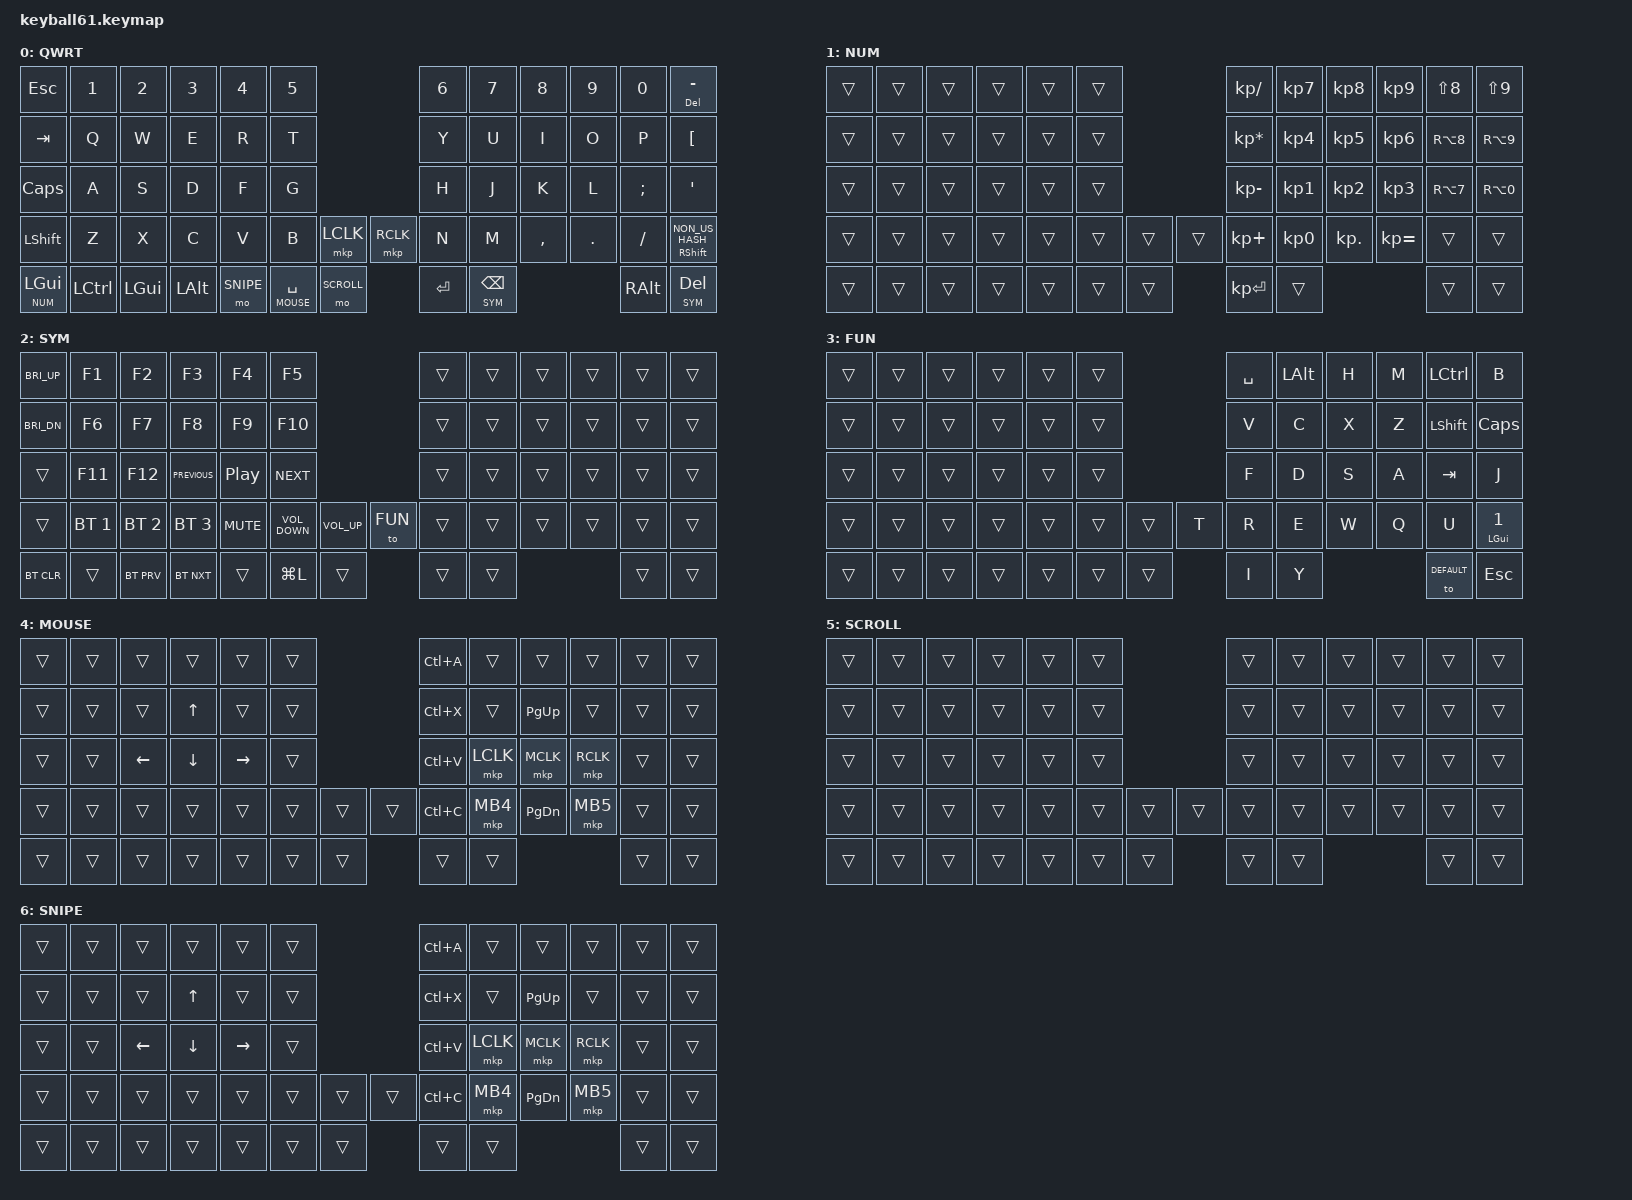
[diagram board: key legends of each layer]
#define DEFAULT 0
#define NUM     1
#define SYM     2
#define FUN     3
#define MOUSE   4
#define SCROLL  5
#define SNIPE   6

#include <behaviors/mouse_keys.dtsi>
#include <behaviors.dtsi>
#include <dt-bindings/zmk/bt.h>
#include <dt-bindings/zmk/keys.h>
#include <dt-bindings/zmk/mouse.h>

&lt {
    tapping-term-ms = <240>;
    flavor = "balanced";
    quick-tap-ms = <150>;
};

&mt {
    tapping-term-ms = <200>;
    flavor = "tap-preferred";
    quick-tap-ms = <150>;
};

/ {
    keymap {
        compatible = "zmk,keymap";

        default_layer {
            label = "QWRT";
            bindings = <
&kp ESC            &kp N1            &kp N2        &kp N3        &kp N4     &kp N5                                         &kp N6      &kp N7  &kp N8     &kp N9      &kp N0         &mt DELETE MINUS
&kp TAB            &kp Q             &kp W         &kp E         &kp R      &kp T                                          &kp Y       &kp U   &kp I      &kp O       &kp P          &kp LEFT_BRACKET
&kp CAPS           &kp A             &kp S         &kp D         &kp F      &kp G                                          &kp H       &kp J   &kp K      &kp L       &kp SEMICOLON  &kp SQT
&kp LEFT_SHIFT     &kp Z             &kp X         &kp C         &kp V      &kp B            &mkp LCLK       &mkp RCLK     &kp N       &kp M   &kp COMMA  &kp PERIOD  &kp SLASH      &mt RIGHT_SHIFT NON_US_HASH
&lt NUM LEFT_GUI   &kp LEFT_CONTROL  &kp LEFT_GUI  &kp LEFT_ALT  &mo SNIPE  &lt MOUSE SPACE  &mo SCROLL                  &kp RETURN  &lt SYM BACKSPACE                      &kp RIGHT_ALT  &lt SYM DELETE
            >;
        };

        number_layer {
            label = "NUM";
            bindings = <
// right hand: numpad. Symbols below are German-layout: Shift+8 = (  Shift+9 = )  AltGr+8 = [  AltGr+9 = ]  AltGr+7 = {  AltGr+0 = }
&trans  &trans  &trans  &trans  &trans  &trans                  &kp KP_SLASH     &kp KP_N7  &kp KP_N8   &kp KP_N9     &kp LS(N8)  &kp LS(N9)
&trans  &trans  &trans  &trans  &trans  &trans                  &kp KP_ASTERISK  &kp KP_N4  &kp KP_N5   &kp KP_N6     &kp RA(N8)  &kp RA(N9)
&trans  &trans  &trans  &trans  &trans  &trans                  &kp KP_MINUS     &kp KP_N1  &kp KP_N2   &kp KP_N3     &kp RA(N7)  &kp RA(N0)
&trans  &trans  &trans  &trans  &trans  &trans  &trans  &trans  &kp KP_PLUS      &kp KP_N0  &kp KP_DOT  &kp KP_EQUAL  &trans      &trans
&trans  &trans  &trans  &trans  &trans  &trans  &trans          &kp KP_ENTER     &trans                               &trans      &trans
            >;
        };

        symbol_layer {
            label = "SYM";
            bindings = <
&kp C_BRI_UP   &kp F1               &kp F2         &kp F3        &kp F4             &kp F5                      &trans  &trans  &trans  &trans  &trans  &trans
&kp C_BRI_DN   &kp F6               &kp F7         &kp F8        &kp F9             &kp F10                     &trans  &trans  &trans  &trans  &trans  &trans
&trans         &kp F11              &kp F12        &kp C_PREVIOUS  &kp C_PLAY_PAUSE  &kp C_NEXT                &trans  &trans  &trans  &trans  &trans  &trans
&trans         &bt BT_SEL 1         &bt BT_SEL 2   &bt BT_SEL 3  &kp C_MUTE         &kp C_VOLUME_DOWN  &kp C_VOLUME_UP  &to FUN  &trans  &trans  &trans  &trans  &trans  &trans
&bt BT_CLR     &trans               &bt BT_PRV     &bt BT_NXT    &trans             &kp LG(L)          &trans              &trans  &trans                  &trans  &trans
            >;
        };

        function_layer {
            label = "FUN";
            bindings = <
// mirrored left-hand keys on the right half; &to DEFAULT returns to the base layer
&trans  &trans            &trans  &trans  &trans            &trans                   &kp SPACE        &kp LEFT_ALT      &kp H   &kp M   &kp LEFT_CONTROL  &kp B
&trans  &trans            &trans  &trans  &trans            &trans                   &kp V            &kp C             &kp X   &kp Z   &kp LEFT_SHIFT    &kp CAPS
&trans  &trans            &trans  &trans  &trans            &trans                   &kp F            &kp D             &kp S   &kp A   &kp TAB           &kp J
&trans  &trans            &trans  &trans  &trans            &trans  &trans  &kp T     &kp R            &kp E             &kp W   &kp Q   &kp U             &mt LEFT_GUI N1
&trans  &trans            &trans  &trans  &trans            &trans  &trans            &kp I            &kp Y                             &to DEFAULT       &kp ESC
            >;
        };

        mouse_layer {
            label = "MOUSE";
            bindings = <
&trans  &trans  &trans  &trans    &trans     &trans                  &kp LC(A)   &trans     &trans         &trans     &trans  &trans
&trans  &trans  &trans  &kp UP    &trans     &trans                  &kp LC(X)   &trans     &kp PAGE_UP    &trans     &trans  &trans
&trans  &trans  &kp LEFT  &kp DOWN  &kp RIGHT  &trans                &kp LC(V)   &mkp LCLK  &mkp MCLK      &mkp RCLK  &trans  &trans
&trans  &trans  &trans  &trans    &trans     &trans  &trans  &trans  &kp LC(C)   &mkp MB4   &kp PAGE_DOWN  &mkp MB5   &trans  &trans
&trans  &trans  &trans  &trans    &trans     &trans  &trans          &trans      &trans                    &trans     &trans
            >;
        };

        scroll_layer {
            label = "SCROLL";
            bindings = <
&trans  &trans  &trans  &trans  &trans  &trans                  &trans  &trans  &trans  &trans  &trans  &trans
&trans  &trans  &trans  &trans  &trans  &trans                  &trans  &trans  &trans  &trans  &trans  &trans
&trans  &trans  &trans  &trans  &trans  &trans                  &trans  &trans  &trans  &trans  &trans  &trans
&trans  &trans  &trans  &trans  &trans  &trans  &trans  &trans  &trans  &trans  &trans  &trans  &trans  &trans
&trans  &trans  &trans  &trans  &trans  &trans  &trans          &trans  &trans                  &trans  &trans
            >;
        };

        snipe_layer {
            label = "SNIPE";
            bindings = <
&trans  &trans  &trans  &trans    &trans     &trans                  &kp LC(A)   &trans     &trans         &trans     &trans  &trans
&trans  &trans  &trans  &kp UP    &trans     &trans                  &kp LC(X)   &trans     &kp PAGE_UP    &trans     &trans  &trans
&trans  &trans  &kp LEFT  &kp DOWN  &kp RIGHT  &trans                &kp LC(V)   &mkp LCLK  &mkp MCLK      &mkp RCLK  &trans  &trans
&trans  &trans  &trans  &trans    &trans     &trans  &trans  &trans  &kp LC(C)   &mkp MB4   &kp PAGE_DOWN  &mkp MB5   &trans  &trans
&trans  &trans  &trans  &trans    &trans     &trans  &trans          &trans      &trans                    &trans     &trans
            >;
        };
    };
};
